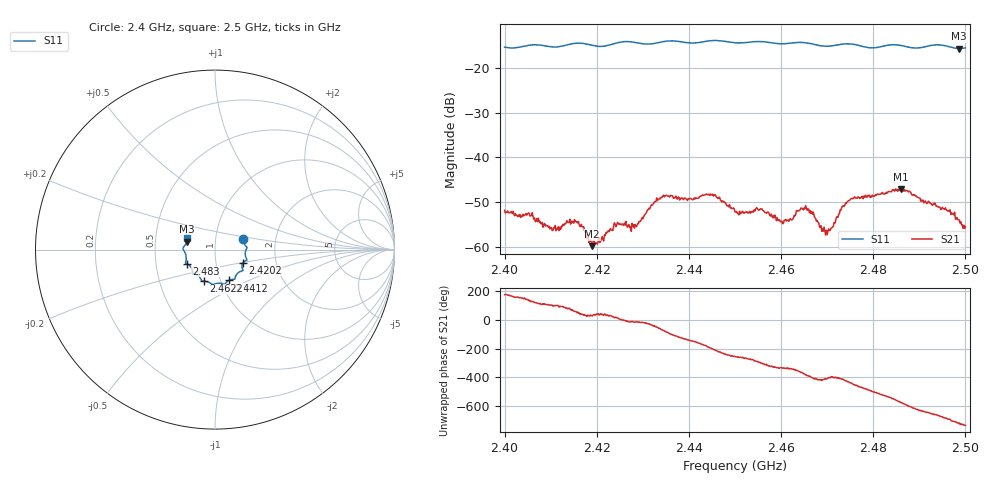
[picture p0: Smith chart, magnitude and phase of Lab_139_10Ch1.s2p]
# Hz S RI R 50
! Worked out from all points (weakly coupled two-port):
!   601 points, 2.4 GHz to 2.5 GHz, reference 50 ohm
!   highest |S21| = -47.00 dB at 2.486 GHz (marker M1); lowest = -59.8 dB at 2.419 GHz (marker M2)
!   lowest |S11| = -15.8 dB at 2.4987 GHz (marker M3), VSWR 1.39, Z = 36.3 + j3.31 ohm
!   |S11| at or under -10 dB: start of sweep to end of sweep
!   S12 and S22 are empty: the file has one direction only
!   S11 on the Smith chart (normalised r, x): 2.4 GHz: 1.36, +0.17; 2.4202 GHz: 1.35, -0.20; 2.4412 GHz: 1.09, -0.39; 2.4622 GHz: 0.83, -0.30; 2.483 GHz: 0.72, -0.12; 2.5 GHz: 0.73, +0.09
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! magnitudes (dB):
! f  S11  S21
! 2.4 GHz  -15.5  -51.8
! 2.4055 GHz  -15.0  -53.1
! 2.4103 GHz  -15.4  -56.3
! 2.4167 GHz  -14.6  -54.9
! 2.419 GHz  -15.0  -59.8
! 2.4202 GHz  -15.3  -59.3
! 2.4242 GHz  -14.6  -55.4
! 2.4287 GHz  -14.5  -55.4
! 2.4333 GHz  -14.5  -49.3
! 2.4412 GHz  -14.5  -49.0
! 2.4452 GHz  -14.0  -48.2
! 2.45 GHz  -14.5  -52.1
! 2.4622 GHz  -14.5  -53.8
! 2.4648 GHz  -14.4  -51.7
! 2.4667 GHz  -14.7  -52.1
! 2.4702 GHz  -15.2  -56.4
! 2.4748 GHz  -14.7  -49.5
! 2.483 GHz  -15.0  -48.0
! 2.4833 GHz  -15.0  -47.6
! 2.486 GHz  -15.1  -47.0
! 2.4987 GHz  -15.8  -53.9
! 2.5 GHz  -15.6  -55.4
